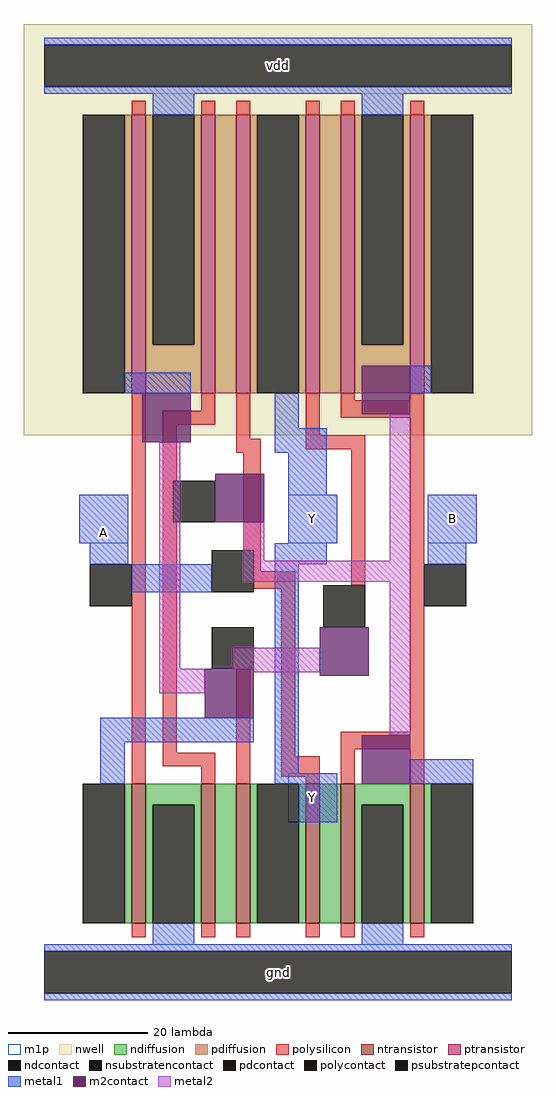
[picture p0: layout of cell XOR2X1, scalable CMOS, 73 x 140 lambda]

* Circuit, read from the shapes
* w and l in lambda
.subckt XOR2X1 A B Y vdd gnd
M1 gnd A n1 gnd nfet w=20 l=2
M2 n2 n3 gnd gnd nfet w=20 l=2
M3 Y n1 n2 gnd nfet w=20 l=2
M4 n4 A Y gnd nfet w=20 l=2
M5 gnd B n4 gnd nfet w=20 l=2
M6 n3 B gnd gnd nfet w=20 l=2
M7 vdd A n1 vdd pfet w=40 l=2
M8 n5 n3 vdd vdd pfet w=40 l=2
M9 Y A n5 vdd pfet w=40 l=2
M10 n6 n1 Y vdd pfet w=40 l=2
M11 vdd B n6 vdd pfet w=40 l=2
M12 n3 B vdd vdd pfet w=40 l=2
.ends

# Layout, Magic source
magic
tech scmos
magscale 1 2
<< nwell >>
rect -13 154 133 272
<< ntransistor >>
rect 18 14 22 54
rect 38 14 42 54
rect 48 14 52 54
rect 68 14 72 54
rect 78 14 82 54
rect 98 14 102 54
<< ptransistor >>
rect 18 166 22 246
rect 38 166 42 246
rect 48 166 52 246
rect 68 166 72 246
rect 78 166 82 246
rect 98 166 102 246
<< ndiffusion >>
rect 16 14 18 54
rect 22 48 38 54
rect 22 14 24 48
rect 36 14 38 48
rect 42 14 48 54
rect 52 14 54 54
rect 66 14 68 54
rect 72 14 78 54
rect 82 48 98 54
rect 82 14 84 48
rect 96 14 98 48
rect 102 14 104 54
<< pdiffusion >>
rect 16 166 18 246
rect 22 180 24 246
rect 36 180 38 246
rect 22 166 38 180
rect 42 166 48 246
rect 52 166 54 246
rect 66 166 68 246
rect 72 166 78 246
rect 82 180 84 246
rect 96 180 98 246
rect 82 166 98 180
rect 102 166 104 246
<< ndcontact >>
rect 4 14 16 54
rect 24 14 36 48
rect 54 14 66 54
rect 84 14 96 48
rect 104 14 116 54
<< pdcontact >>
rect 4 166 16 246
rect 24 180 36 246
rect 54 166 66 246
rect 84 180 96 246
rect 104 166 116 246
<< psubstratepcontact >>
rect -7 -6 127 6
<< nsubstratencontact >>
rect -7 254 127 266
<< polysilicon >>
rect 18 246 22 250
rect 38 246 42 250
rect 48 246 52 250
rect 68 246 72 250
rect 78 246 82 250
rect 98 246 102 250
rect 18 54 22 166
rect 38 161 42 166
rect 27 157 42 161
rect 27 141 31 157
rect 48 153 52 166
rect 68 154 72 166
rect 78 164 82 166
rect 98 164 102 166
rect 78 159 102 164
rect 48 149 55 153
rect 68 150 85 154
rect 27 129 30 141
rect 27 63 31 129
rect 50 121 55 149
rect 53 115 55 121
rect 53 110 65 115
rect 81 111 85 150
rect 27 59 42 63
rect 38 54 42 59
rect 48 54 52 87
rect 61 62 65 110
rect 98 69 102 159
rect 78 64 102 69
rect 61 56 72 62
rect 68 54 72 56
rect 78 54 82 64
rect 98 54 102 64
rect 18 10 22 14
rect 38 10 42 14
rect 48 10 52 14
rect 68 10 72 14
rect 78 10 82 14
rect 98 10 102 14
<< polycontact >>
rect 6 105 18 117
rect 30 129 42 141
rect 41 109 53 121
rect 41 87 53 99
rect 73 99 85 111
rect 102 105 114 117
<< metal1 >>
rect -7 266 127 268
rect -7 252 127 254
rect 24 246 36 252
rect 84 246 96 252
rect 16 166 35 172
rect 59 156 66 166
rect 98 166 104 174
rect 59 149 74 156
rect 3 123 17 137
rect 63 137 74 149
rect 63 123 77 137
rect 103 123 117 137
rect 6 117 17 123
rect 18 109 41 117
rect 59 117 74 123
rect 103 117 114 123
rect 9 66 53 73
rect 9 54 16 66
rect 59 57 66 117
rect 59 54 77 57
rect 98 54 116 61
rect 66 43 77 54
rect 24 8 36 14
rect 84 8 96 14
rect -7 6 127 8
rect -7 -8 127 -6
<< m2contact >>
rect 21 152 35 166
rect 84 160 98 174
rect 42 129 56 143
rect 39 73 53 87
rect 72 85 86 99
rect 84 54 98 68
<< metal2 >>
rect 26 87 32 152
rect 50 118 56 129
rect 92 118 98 160
rect 50 112 98 118
rect 47 87 72 93
rect 26 80 39 87
rect 53 86 72 87
rect 92 68 98 112
<< m1p >>
rect -7 252 127 268
rect 3 123 17 137
rect 63 123 77 137
rect 103 123 117 137
rect 63 43 77 57
rect -7 -8 127 8
<< labels >>
rlabel nsubstratencontact 60 260 60 260 0 vdd
port 4 nsew power bidirectional abutment
rlabel psubstratepcontact 60 0 60 0 0 gnd
port 5 nsew ground bidirectional abutment
rlabel metal1 10 126 10 126 0 A
port 1 nsew signal input
rlabel metal1 70 130 70 130 0 Y
port 3 nsew signal output
rlabel metal1 110 130 110 130 0 B
port 2 nsew signal input
rlabel metal1 70 50 70 50 0 Y
port 3 nsew signal output
<< properties >>
string FIXED_BBOX 0 0 120 260
string LEFclass CORE
string LEFsite core
string LEFsymmetry X Y
<< end >>
